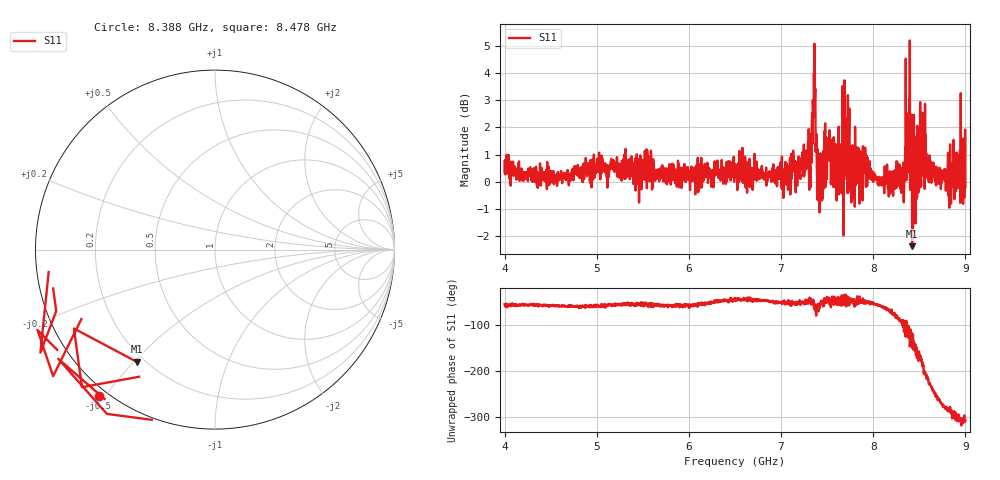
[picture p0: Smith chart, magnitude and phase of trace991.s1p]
! Created with skrf 1.8.0 (http://scikit-rf.org).
# Hz S RI R 50.0
!freq ReS11 ImS11
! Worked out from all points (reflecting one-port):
!   1601 points, 4 GHz to 9 GHz, reference 50 ohm
!   lowest |S11| = -2.4 dB at 8.422 GHz (marker M1), VSWR 7.41, Z = 8.53 - j25.5 ohm
!   phase of S11 starts at -55 deg and turns -252 deg over the sweep
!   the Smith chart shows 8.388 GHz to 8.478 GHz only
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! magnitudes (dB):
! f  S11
! 4 GHz  0.4
! 4.625 GHz  0.0
! 5.25 GHz  0.1
! 5.875 GHz  0.2
! 6.5 GHz  0.2
! 7.125 GHz  0.6
! 7.306 GHz  -0.3
! 7.328 GHz  1.2
! 7.347 GHz  2.8
! 7.359 GHz  3.3
! 7.381 GHz  1.2
! 7.4 GHz  0.2
! 7.428 GHz  1.0
! 7.509 GHz  1.0
! 7.609 GHz  1.1
! 7.688 GHz  3.7
! 7.75 GHz  -0.3
! 7.775 GHz  1.3
! 7.891 GHz  0.3
! 8.097 GHz  0.2
! 8.316 GHz  0.2
! 8.375 GHz  2.1
! 8.422 GHz  -2.4
! 8.447 GHz  1.7
! 8.519 GHz  2.6
! 8.712 GHz  0.2
! 8.972 GHz  0.4
! 9 GHz  -0.2
